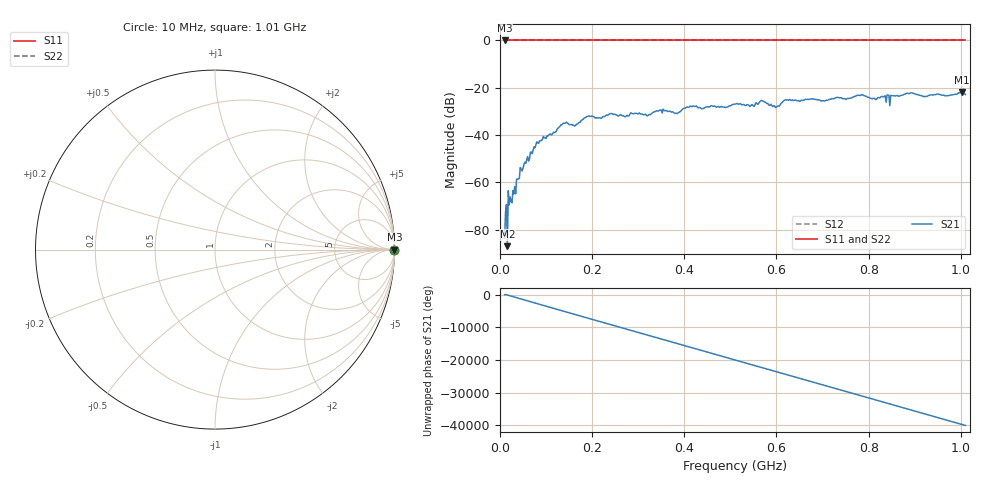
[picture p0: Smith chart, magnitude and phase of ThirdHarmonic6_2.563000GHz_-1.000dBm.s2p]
! 8/17/2025 5:19:03 AM
! C:\ANRITSUVNA\TEMP\TEMP.S2P
! CHANNEL.1
! TR.MEASUREMENT
! RAW.DATA
! RF.CORRECTION.OFF
! AVERAGING.OFF
! IF.BANDWIDTH: 5KHZ
! SWEEPTYPE:  FREQ.SWEEP(Linear)
! Reference Plane Port Info
! PORT:  PORT1  PORT2
! DISTANCE:  0  m  0  m
! TIME:  0  s  0  s
! PHASE.OFFSET:  0  deg.  0  deg.
! LOSS:  0  dB  0  dB
! REF.LOSS:  0  dB  0  dB
! REF.FREQ:  0  Hz  0  Hz
! Power Info
! POWER:  -20  dBm  -20  dBm
! EFF.POWER:  -20  dBm  -20  dBm
! SOURCE.ATTEN:  0  dB  0  dB
! TEST.ATTEN:  0  dB  0  dB
# GHZ S RI R 50.0
! FREQ.GHZ  S11RE  S11IM  S21RE  S21IM  S12RE  S12IM  S22RE  S22IM
!; PortSelection: Port_12
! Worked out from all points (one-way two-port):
!   501 points, 10 MHz to 1.01 GHz, reference 50 ohm
!   highest |S21| = -21.84 dB at 1.002 GHz (marker M1); lowest = -87.0 dB at 16 MHz (marker M2)
!   lowest |S11| = 0.0 dB at 10 MHz (marker M3)
!   |S11| at or under -10 dB: nowhere
!   |S22| runs from 0.0 to 0.0 dB; largest |S21 - S12| = 1.1
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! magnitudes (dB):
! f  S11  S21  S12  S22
! 10 MHz  0.0  -83.6  0.0  0.0
! 12 MHz  0.0  -72.6  0.0  0.0
! 16 MHz  0.0  -87.0  0.0  0.0
! 48 MHz  0.0  -55.2  0.0  0.0
! 78 MHz  0.0  -44.1  0.0  0.0
! 136 MHz  0.0  -35.3  0.0  0.0
! 162 MHz  0.0  -36.2  0.0  0.0
! 178 MHz  0.0  -33.6  0.0  0.0
! 240 MHz  0.0  -31.0  0.0  0.0
! 322 MHz  0.0  -31.5  0.0  0.0
! 344 MHz  0.0  -29.8  0.0  0.0
! 382 MHz  0.0  -30.7  0.0  0.0
! 416 MHz  0.0  -28.0  0.0  0.0
! 510 MHz  0.0  -26.9  0.0  0.0
! 548 MHz  0.0  -27.2  0.0  0.0
! 568 MHz  0.0  -25.4  0.0  0.0
! 602 MHz  0.0  -27.8  0.0  0.0
! 620 MHz  0.0  -25.1  0.0  0.0
! 678 MHz  0.0  -24.7  0.0  0.0
! 844 MHz  0.0  -23.2  0.0  0.0
! 1.002 GHz  0.0  -21.8  0.0  0.0
! 1.01 GHz  0.0  -22.9  0.0  0.0
